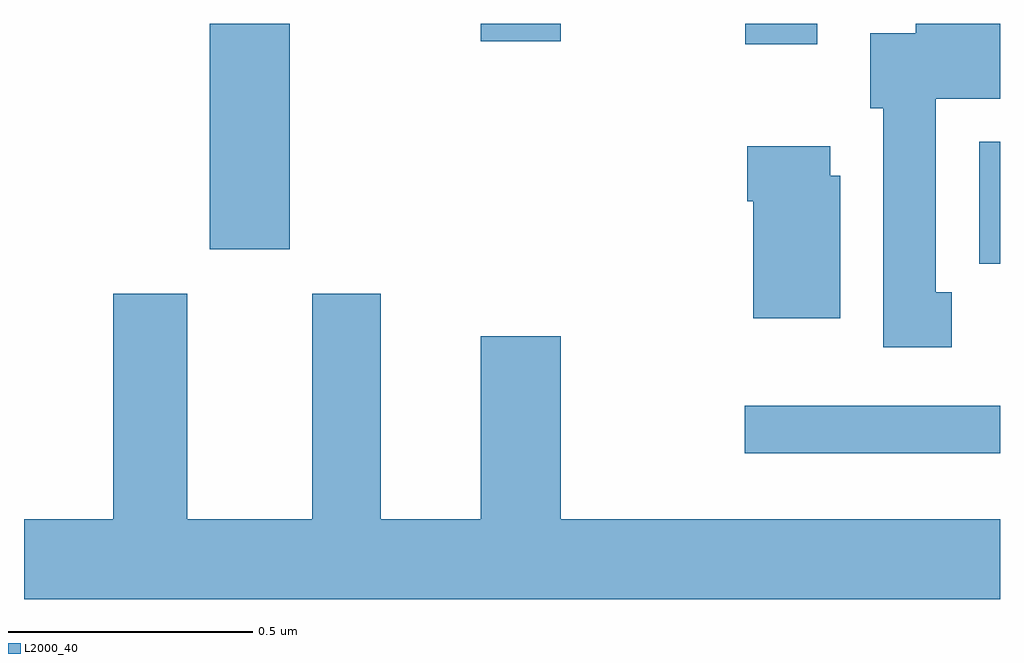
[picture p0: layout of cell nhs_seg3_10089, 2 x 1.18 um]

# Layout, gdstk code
import gdstk
lib = gdstk.Library(unit=1e-6, precision=1e-09)
def R(c, l, rs):  # rectangles x0, y0, x1, y1
    for r in rs: c.add(gdstk.rectangle(r[:2], r[2:], *l))
def P(c, l, *ps):  # polygons
    for p in ps: c.add(gdstk.Polygon(p, *l))
L2000_40 = (2000, 40)

nhs_seg3_10089 = lib.new_cell('nhs_seg3_10089')
R(nhs_seg3_10089, L2000_40, [(237.477,730.52,238,730.617), (237.957,730.908,238,731.158), (236.381,730.938,236.545,731.4), (237.478,731.358,237.625,731.4), (236.936,731.364,237.1,731.4)])
P(nhs_seg3_10089, L2000_40, [(237.901,730.849),(237.868,730.849),(237.868,731.246),(238,731.246),(238,731.4),(237.827,731.4),(237.827,731.38),(237.734,731.38),(237.734,731.226),(237.761,731.226),(237.761,730.737),(237.901,730.737)],
  [(237.673,731.088),(237.652,731.088),(237.652,731.149),(237.482,731.149),(237.482,731.036),(237.494,731.036),(237.494,730.796),(237.673,730.796)],
  [(238,730.384),(237.1,730.384),(237.1,730.759),(236.936,730.759),(236.936,730.384),(236.731,730.384),(236.731,730.846),(236.591,730.846),(236.591,730.384),(236.335,730.384),(236.335,730.846),(236.183,730.846),(236.183,730.384),(236,730.384),(236,730.22),(238,730.22)])

lib.write_gds('nhs_seg3_10089.gds')
